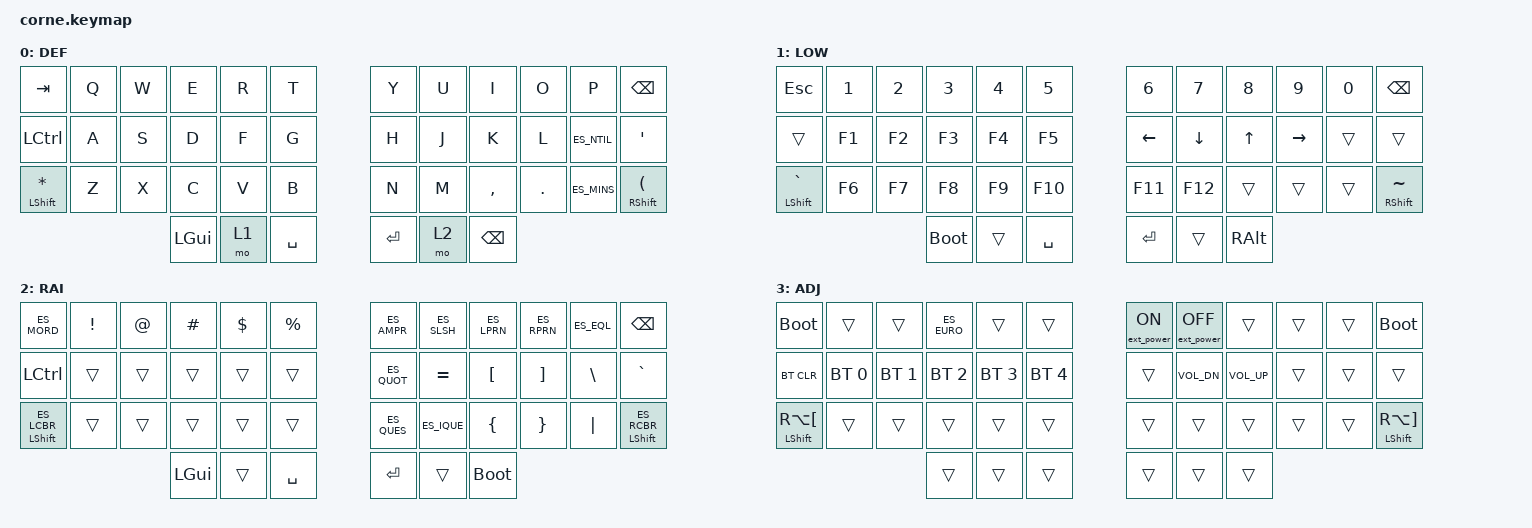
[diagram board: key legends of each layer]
/*
 * Copyright (c) 2020 The ZMK Contributors
 *
 * SPDX-License-Identifier: MIT
 */

#include <behaviors.dtsi>
#include <dt-bindings/zmk/keys.h>
#include <dt-bindings/zmk/bt.h>


// Layer aliases 
#define DEF 0
#define LOW 1
#define RAI 2
#define ADJ 3

/{
    conditional_layers {
        compatible = "zmk,conditional-layers";
        tri_layer {
            if-layers = <LOW RAI>;
            then-layer = <ADJ>;
        };
    };
    
        keymap {
                compatible = "zmk,keymap";

                default_layer {
                      label = "DEF";
// ---------------------------------------------------------------------------------------
// |  TAB |  Q  |  W  |  E  |  R  |  T  |   |  Y  |  U   |  I  |  O  |  P  | BKSP |
// | CTRL |  A  |  S  |  D  |  F  |  G  |   |  H  |  J   |  K  |  L  |  ;  |  '   |
// |(SHFT |  Z  |  X  |  C  |  V  |  B  |   |  N  |  M   |  ,  |  .  |  -  | SHFT)|
//                    | GUI | LWR | SPC |   | ENT | RSE  |BKSP |
                        bindings = <
&kp TAB   &kp Q &kp W &kp E &kp R &kp T         &kp Y &kp U &kp I &kp O &kp P &kp BSPC
&kp LCTRL &kp A &kp S &kp D &kp F &kp G         &kp H &kp J &kp K &kp L &kp ES_NTIL &kp SQT
&mt LSHIFT STAR &kp Z &kp X &kp C &kp V &kp B   &kp N &kp M &kp COMMA &kp DOT &kp ES_MINS &mt RSHIFT LPAR
                  &kp LGUI &mo 1 &kp SPACE      &kp RET &mo 2 &kp BKSP
                        >;
                };
                
                lower_layer {
                    label = "LOW";
// -----------------------------------------------------------------------------------------
// |  ESC |  1  |  2  |  3  |  4  |  5  |   |  6  |  7  |  8  |  9  |  0  | BKSP |
// |      | F1  | F2  | F3  | F4  | F5  |   | LFT | DWN |  UP | RGT |     |      |
// |  <   | F6  | F7  | F8  | F9  | F10 |   | F11 | F12 |     |     |     |   >  |
//                    | BL |     | SPC |   | ENT |     | ALT |
                        bindings = <
   &kp ESC &kp N1 &kp N2 &kp N3 &kp N4 &kp N5                   &kp N6 &kp N7 &kp N8 &kp N9 &kp N0 &kp BSPC
   &trans &kp F1 &kp F2 &kp F3 &kp F4 &kp F5                    &kp LEFT &kp DOWN &kp UP &kp RIGHT &trans &trans
   &mt LSHIFT GRAVE  &kp F6 &kp F7 &kp F8 &kp F9 &kp F10        &kp F11 &kp F12 &trans &trans &trans &mt RSHIFT TILDE
                          	   &bootloader &trans &kp SPACE        &kp RET &trans &kp RALT
                        >;
                };
                
                raise_layer {
                     label = "RAI";
// -----------------------------------------------------------------------------------------
// |  º   |  !  |  @  |  #  |  $  |  %  |  |  ^  |  &  |  *  |  (  |  )  | BKSP |
// | CTRL |     |     |     |     |     |  |  '  |  =  |  [  |  ]  |  \  |  `   |
// |   {  |     |     |     |     |     |  |  ¿  |  ?  |  {  |  }  | "|" |   }  |
//                    | GUI |     | SPC |  | ENT |     | BL |
                        bindings = <
   &kp ES_MORD &kp EXCL &kp AT &kp HASH &kp DLLR &kp PRCNT       &kp ES_AMPR &kp ES_SLSH  &kp ES_LPRN &kp ES_RPRN &kp ES_EQL &kp BSPC
   &kp LCTRL &trans &trans &trans &trans &trans                  &kp ES_QUOT &kp EQUAL &kp LBKT &kp RBKT &kp BSLH &kp GRAVE
   &mt LSHIFT ES_LCBR &trans &trans &trans &trans &trans         &kp ES_QUES &kp ES_IQUE &kp LBRC &kp RBRC &kp PIPE &mt LSHIFT ES_RCBR
                    	     &kp LGUI &trans &kp SPACE           &kp RET &trans  &bootloader
                        >;
                };
                
                adjust_layer {
                    label = "ADJ";
// -----------------------------------------------------------------------------------------
// |    BL| (2) | (3) |  €  | (5) | (6) |   | ON  | OFF  |    |     |     |BL    |
// | BTCLR| BT1 | BT2 | BT3 | BT4 | BT5 |   |     |volDN|volUP|     |     |      |
// | [    |     |     |     |     |     |   |     |     |     |     |     |  ]   |
//                    |     |     |     |   |     |     |     |
                        bindings = <
   &bootloader &trans &trans &kp ES_EURO &trans &trans                          &ext_power EP_ON &ext_power EP_OFF &trans &trans &trans   &bootloader
   &bt BT_CLR &bt BT_SEL 0 &bt BT_SEL 1 &bt BT_SEL 2 &bt BT_SEL 3 &bt BT_SEL 4   &trans &kp C_VOL_DN &kp C_VOL_UP &trans &trans &trans
    &mt LSHIFT RA(LBKT) &trans &trans &trans &trans &trans                               &trans &trans &trans &trans &trans  &mt LSHIFT RA(RBKT)
                              &trans &trans &trans                               &trans &trans &trans 
                        >;
                };
   };
};
